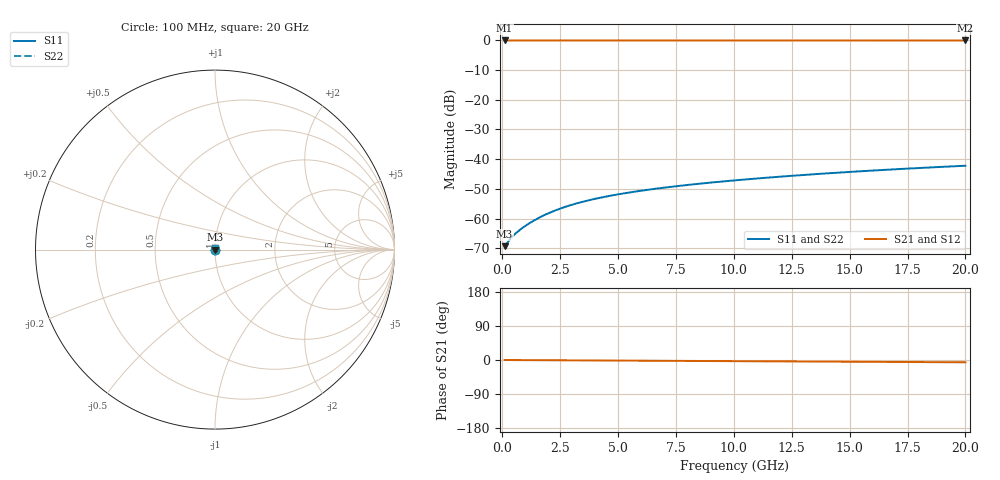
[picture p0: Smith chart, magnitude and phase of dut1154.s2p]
! Touchstone file exported from HFSS 2026.1.0
!  File:  C:/ffzhzh/LocalFiles/Ansys_Project_Files/temp_train_TSV_1154_1783191653_51560.aedt
!  Generated:  03:02:31 AM Jul  5, 2026
!  Design:  TSV
!  Project:  temp_train_TSV_1154_1783191653_51560
! Variables:
!  h_bsmrdl = 2um
!  h_ox = 20um
!  h_rdl = 5um
!  h_sub = 62.98um
!  h_tmrdl = 5um
!  h_tsv = 62.98um
!  h_via = 3um
!  l_bsmrdl = 300um
!  l_sub = 409.9um
!  l_tmrdl = 200um
!  m_sub = 200um
!  pitch = 22.02um
!  r_tsv = 4.95um
!  s_tmrdl = 10um
!  w_bsmrdl = 18um
!  w_sub = 500um
!  w_tmrdl = 12um
!  x_tsv_center1 = 206um
!  x_tsv_center2 = 524um
!  x_tsv_center3 = 736um
!  x_tsv_center4 = 1054um
!  x_tsv_center5 = 1266um
!  x_tsv_center6 = 1584um
# GHz S MA R 50.000000
! Terminal data exported
! Port[1] = TSV1_1_T1
! Port[2] = TSV1_1_T2
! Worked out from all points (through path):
!   200 points, 100 MHz to 20 GHz, reference 50 ohm
!   highest |S21| = 0.00 dB at 100 MHz (marker M1); lowest = 0.0 dB at 20 GHz (marker M2)
!   lowest |S11| = -69.3 dB at 100 MHz (marker M3), VSWR 1.00, Z = 50 + j0.00824 ohm
!   |S11| at or under -10 dB: start of sweep to end of sweep
!   |S22| runs from -69.3 to -42.2 dB; largest |S21 - S12| = 2e-15
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0.1  0.0003425 13.9  0.9997 -0.0  0.9997 -0.0  0.0003425 13.9
! Gamma 0 0 0 0
! Port Impedance 50 0 50 0
0.3  0.0004316 31.2  0.9996 -0.1  0.9996 -0.1  0.0004316 31.2
0.4  0.0004804 36.1  0.9996 -0.1  0.9996 -0.1  0.0004804 36.1
0.5  0.0005275 39.8  0.9996 -0.2  0.9996 -0.2  0.0005275 39.8
0.6  0.0005731 42.8  0.9996 -0.2  0.9996 -0.2  0.0005731 42.8
0.8  0.0006629 47.9  0.9996 -0.3  0.9996 -0.3  0.0006629 47.9
1  0.0007538 51.8  0.9995 -0.3  0.9995 -0.3  0.0007538 51.8
1.4  0.0009417 57.5  0.9995 -0.4  0.9995 -0.4  0.0009417 57.5
1.8  0.001135 61.0  0.9994 -0.6  0.9994 -0.6  0.001134 61.0
2.3  0.001376 63.6  0.9994 -0.7  0.9994 -0.7  0.001376 63.6
2.9  0.001658 65.3  0.9993 -0.9  0.9993 -0.9  0.001658 65.3
3.5  0.001929 66.3  0.9993 -1.1  0.9993 -1.1  0.001929 66.3
4.2  0.002231 66.9  0.9992 -1.3  0.9992 -1.3  0.002231 66.9
4.9  0.002518 67.3  0.9991 -1.5  0.9991 -1.5  0.002518 67.3
5.8  0.00287 67.7  0.999 -1.8  0.999 -1.8  0.00287 67.7
6.8  0.003244 68.1  0.9989 -2.1  0.9989 -2.1  0.003244 68.1
8.3  0.003786 68.7  0.9988 -2.5  0.9988 -2.5  0.003786 68.7
10.1  0.004419 69.3  0.9987 -3.1  0.9987 -3.1  0.004419 69.3
11.7  0.004974 69.6  0.9986 -3.6  0.9986 -3.6  0.004974 69.6
13.4  0.005557 69.9  0.9985 -4.1  0.9985 -4.1  0.005557 69.9
16.7  0.006672 70.0  0.9983 -5.1  0.9983 -5.1  0.006672 70.0
20  0.007758 69.8  0.9981 -6.1  0.9981 -6.1  0.007758 69.8
